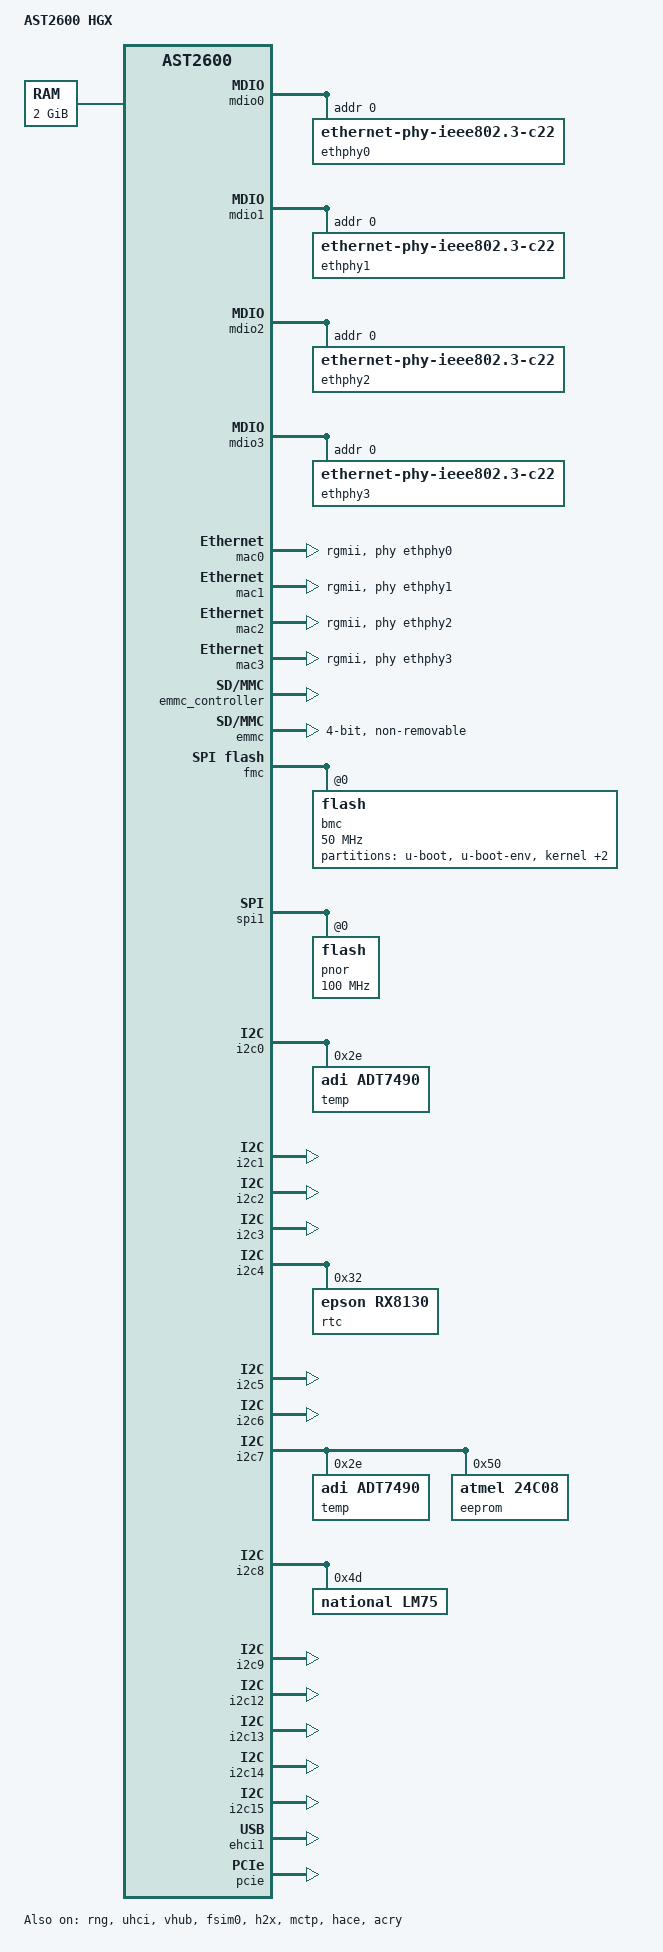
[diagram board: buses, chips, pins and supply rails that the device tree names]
// SPDX-License-Identifier: GPL-2.0-or-later
// Copyright 2019 IBM Corp.

/dts-v1/;

#include "aspeed-g6.dtsi"

/ {
	model = "AST2600 HGX";
	compatible = "aspeed,ast2600";

	aliases {
		serial4 = &uart5;
	};

	chosen {
		bootargs = "console=ttyS4,115200n8";
	};

	memory@80000000 {
		device_type = "memory";
		reg = <0x80000000 0x80000000>;
	};
};

&mdio0 {
	status = "okay";

	ethphy0: ethernet-phy@0 {
		compatible = "ethernet-phy-ieee802.3-c22";
		reg = <0>;
	};
};

&mdio1 {
	status = "okay";

	ethphy1: ethernet-phy@0 {
		compatible = "ethernet-phy-ieee802.3-c22";
		reg = <0>;
	};
};

&mdio2 {
	status = "okay";

	ethphy2: ethernet-phy@0 {
		compatible = "ethernet-phy-ieee802.3-c22";
		reg = <0>;
	};
};

&mdio3 {
	status = "okay";

	ethphy3: ethernet-phy@0 {
		compatible = "ethernet-phy-ieee802.3-c22";
		reg = <0>;
	};
};

&mac0 {
	status = "okay";

	phy-mode = "rgmii";
	phy-handle = <&ethphy0>;

	pinctrl-names = "default";
	pinctrl-0 = <&pinctrl_rgmii1_default>;
};


&mac1 {
	status = "okay";

	phy-mode = "rgmii";
	phy-handle = <&ethphy1>;

	pinctrl-names = "default";
	pinctrl-0 = <&pinctrl_rgmii2_default>;
};

&mac2 {
	status = "okay";

	phy-mode = "rgmii";
	phy-handle = <&ethphy2>;

	pinctrl-names = "default";
	pinctrl-0 = <&pinctrl_rgmii3_default>;
};

&mac3 {
	status = "okay";

	phy-mode = "rgmii";
	phy-handle = <&ethphy3>;

	pinctrl-names = "default";
	pinctrl-0 = <&pinctrl_rgmii4_default>;
};

&emmc_controller {
	status = "okay";
};

&emmc {
	non-removable;
	bus-width = <4>;
	max-frequency = <52000000>;
};

&fmc {
	status = "okay";
	flash@0 {
		status = "okay";
		m25p,fast-read;
		label = "bmc";
		spi-max-frequency = <50000000>;

		partitions {
			compatible = "fixed-partitions";
			#address-cells = <1>;
			#size-cells = <1>;

			u-boot@0 {
				reg = <0x0 0xe0000>; // 896KB
				label = "u-boot";
			};

			u-boot-env@e0000 {
				reg = <0xe0000 0x20000>; // 128KB
				label = "u-boot-env";
			};

			kernel@100000 {
				reg = <0x100000 0x900000>; // 9MB
				label = "kernel";
			};

			rofs@a00000 {
				reg = <0xa00000 0x2000000>; // 32MB
				label = "rofs";
			};

			rwfs@6000000 {
				reg = <0x2a00000 0x1600000>; // 22MB
				label = "rwfs";
			};
		};
	};
};

&spi1 {
	status = "okay";
	pinctrl-names = "default";
	pinctrl-0 = <&pinctrl_spi1_default>;

	flash@0 {
		status = "okay";
		m25p,fast-read;
		label = "pnor";
		spi-max-frequency = <100000000>;
	};
};

&uart5 {
	// Workaround for A0
	compatible = "snps,dw-apb-uart";
};

&rng {
	status = "okay";
};

&i2c0 {
	status = "okay";

	temp@2e {
		compatible = "adi,adt7490";
		reg = <0x2e>;
	};
};

&i2c1 {
	status = "okay";
};

&i2c2 {
	status = "okay";
};

&i2c3 {
	status = "okay";
};

&i2c4 {
	status = "okay";
	rtc@32 {
		compatible = "epson,rx8130";
		reg = <0x32>;
	};
};

&i2c5 {
	status = "okay";
};

&i2c6 {
	status = "okay";
};

&i2c7 {
	status = "okay";
	temp@2e {
		compatible = "adi,adt7490";
		reg = <0x2e>;
	};

	eeprom@50 {
		compatible = "atmel,24c08";
		reg = <0x50>;
		pagesize = <16>;
	};


};

&i2c8 {
	status = "okay";

	lm75@4d {
		compatible = "national,lm75";
		reg = <0x4d>;
	};

};

&i2c9 {
	status = "okay";
};

&i2c12 {
	status = "okay";
};

&i2c13 {
	status = "okay";
};

&i2c14 {
	status = "okay";
};

&i2c15 {
	status = "okay";
};

&ehci1 {
       status = "okay";
};

&uhci {
       status = "okay";
};

&vhub {
       status = "okay";
       pinctrl-names = "default";
};

&fsim0 {
	status = "okay";
};

&pcie {
	status = "okay";

	interrupts = <GIC_SPI 168 IRQ_TYPE_LEVEL_HIGH>;

	pcie_intc0: legacy-interrupt-controller {
		interrupts = <GIC_SPI 168 IRQ_TYPE_EDGE_RISING>;
	};
};

&h2x {
	status = "okay";
};

&mctp {
    status = "okay";
};

&hace {
	status = "okay";
	dummy-key1 = /bits/ 8 <0x86 0xD0 0x02 0x8D 0x1E 0x3D 0x44 0x0F 0x06 0x13 0xC7 0x6F 0xFC 0x4B 0x0B 0x22 0x75 0x1E 0x55 0x6E 0x5E 0x01 0x2E 0x6B 0x24 0x29 0x0B 0xBF 0xB8 0x29 0x90 0x8F>;
	dummy-key2 = /bits/ 8 <0xCD 0x83 0xBA 0x8D 0xD4 0x71 0x66 0x5E 0xC6 0x67 0xCC 0xE4 0x8C 0x7C 0xFC 0x40 0x0A 0xC5 0x00 0xB1 0x24 0xAC 0xF4 0x7C 0x3D 0x40 0x37 0x28 0xB0 0x3E 0x50 0x74>;
};

&acry {
	status = "okay";
};
